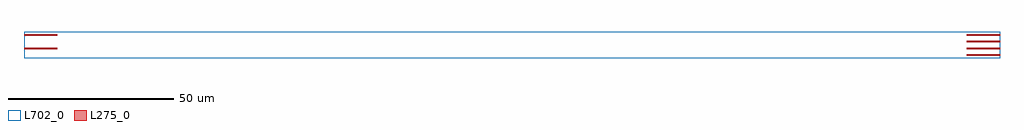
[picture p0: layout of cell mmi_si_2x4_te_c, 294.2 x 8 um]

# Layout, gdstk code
import gdstk
lib = gdstk.Library(unit=1e-6, precision=1e-09)
def R(c, l, rs):  # rectangles x0, y0, x1, y1
    for r in rs: c.add(gdstk.rectangle(r[:2], r[2:], *l))
def A(c, l, x, y, w, h, nx, ny, dx, dy):  # array of equal rectangles
    R(c, l, [(x+i*dx, y+j*dy, x+i*dx+w, y+j*dy+h) for i in range(nx) for j in range(ny)])
L275_0 = (275, 0)
L702_0 = (702, 0)

mmi_si_2x4_te_c = lib.new_cell('mmi_si_2x4_te_c')
A(mmi_si_2x4_te_c, L275_0, 188.45, -0.225, 10, 0.45, 1, 4, 0, 2)
R(mmi_si_2x4_te_c, L275_0, [(-95.75,1.775,-85.75,2.225), (-95.75,5.775,-85.75,6.225)])
R(mmi_si_2x4_te_c, L702_0, [(-95.75,-1,198.45,7)])

lib.write_gds('mmi_si_2x4_te_c.gds')
